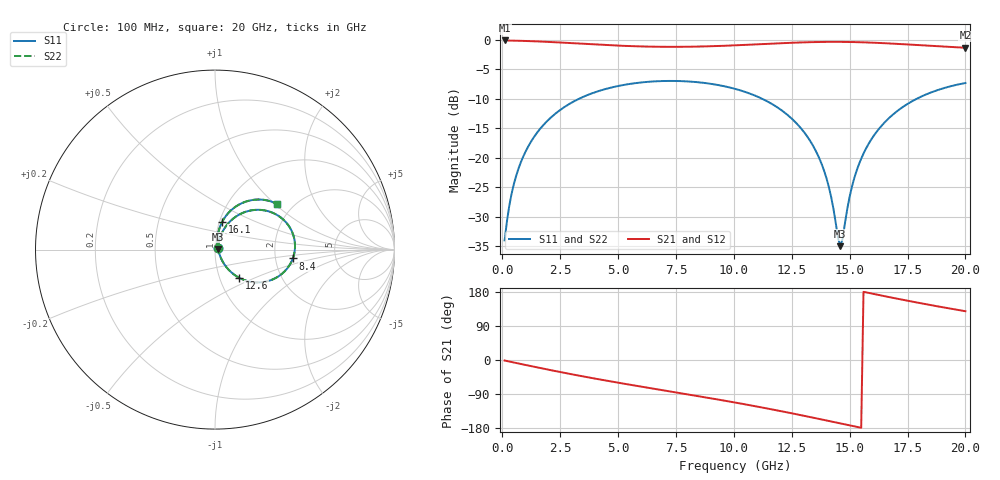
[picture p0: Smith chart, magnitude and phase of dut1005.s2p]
! Touchstone file exported from HFSS 2026.1.0
!  File:  C:/ffzhzh/LocalFiles/Ansys_Project_Files/temp_train_TSV_RDL_1005_1783290644_38704.aedt
!  Generated:  06:40:06 AM Jul  6, 2026
!  Design:  TSV_RDL
!  Project:  temp_train_TSV_RDL_1005_1783290644_38704
! Variables:
!  h_bsmrdl = 3.04um
!  h_ox = 20um
!  h_rdl = 5um
!  h_sub = 75.67um
!  h_tmrdl = 4.84um
!  h_tsv = 75.67um
!  h_via = 3um
!  l_bsmrdl = 277.92um
!  l_sub = 3627.64um
!  l_tmrdl = 570.42um
!  m_sub = 200um
!  pitch = 45.1um
!  r_tsv = 14.65um
!  s_tmrdl = 10um
!  w_bsmrdl = 21.23um
!  w_sub = 500um
!  w_tmrdl = 16.17um
!  x_tsv_center1 = 578.505um
!  x_tsv_center2 = 877.655um
!  x_tsv_center3 = 1464.245um
!  x_tsv_center4 = 1763.395um
!  x_tsv_center5 = 2349.985um
!  x_tsv_center6 = 2649.135um
# GHz S MA R 50.000000
! Terminal data exported
! Port[1] = TM_RDL1_1_T1
! Port[2] = TM_RDL5_1_T1
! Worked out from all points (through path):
!   200 points, 100 MHz to 20 GHz, reference 50 ohm
!   highest |S21| = -0.14 dB at 100 MHz (marker M1); lowest = -1.4 dB at 20 GHz (marker M2)
!   group delay of S21, straight-line fit = 31.7 ps
!   lowest |S11| = -35.0 dB at 14.6 GHz (marker M3), VSWR 1.04, Z = 51.8 + j0.33 ohm
!   |S11| at or under -10 dB: start of sweep to 3.329 GHz; 11.21 GHz to 17.91 GHz (6.703 GHz wide, 46 % of centre)
!   |S22| runs from -35.1 to -7.0 dB; largest |S21 - S12| = 3.7e-14
!   S11 on the Smith chart (normalised r, x): 100 MHz: 1.03, +0.02; 8.4 GHz: 2.50, -0.31; 12.6 GHz: 1.23, -0.40; 16.1 GHz: 1.03, +0.33; 20 GHz: 1.66, +1.03
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0.1  0.01987 36.0  0.9841 -1.4  0.9841 -1.4  0.01987 36.0
! Gamma 0 0 0 0
! Port Impedance 50 0 50 0
0.3  0.03889 60.0  0.9824 -4.0  0.9824 -4.0  0.0389 60.0
0.5  0.05971 65.9  0.9804 -6.6  0.9804 -6.6  0.05971 65.9
1.1  0.1222 66.4  0.9731 -14.4  0.9731 -14.4  0.1222 66.4
2.1  0.2189 57.5  0.9545 -26.9  0.9545 -26.9  0.2189 57.5
3.5  0.3276 42.6  0.9214 -43.4  0.9214 -43.4  0.3276 42.6
5  0.4044 27.0  0.8897 -59.9  0.8897 -59.9  0.4044 27.0
6.8  0.4449 9.1  0.8699 -78.5  0.8699 -78.5  0.4449 9.1
8.4  0.4364 -6.5  0.873 -94.7  0.873 -94.7  0.4364 -6.5
10.1  0.3804 -23.6  0.8955 -112.7  0.8955 -112.7  0.3804 -23.6
11.5  0.2957 -38.2  0.9226 -128.6  0.9226 -128.6  0.2957 -38.2
12.6  0.205 -49.6  0.9426 -141.9  0.9426 -141.9  0.205 -49.6
13.4  0.1281 -56.4  0.9529 -151.9  0.9529 -151.9  0.1281 -56.4
14  0.0669 -56.4  0.9569 -159.6  0.9569 -159.6  0.06685 -56.5
14.2  0.04668 -52.0  0.9574 -162.1  0.9574 -162.1  0.04662 -52.1
14.6  0.01776 10.3  0.9571 -167.3  0.9571 -167.3  0.01766 10.4
15.2  0.06691 77.7  0.9533 -175.0  0.9533 -175.0  0.06691 77.8
15.6  0.1083 78.7  0.9487 179.9  0.9487 179.9  0.1083 78.8
16.1  0.1589 75.6  0.9408 173.5  0.9408 173.5  0.1589 75.6
16.7  0.2163 70.0  0.9289 166.1  0.9289 166.1  0.2163 70.1
18.1  0.3296 55.5  0.8954 149.5  0.8954 149.5  0.3296 55.6
20  0.4288 36.3  0.8545 128.7  0.8545 128.7  0.4289 36.3
